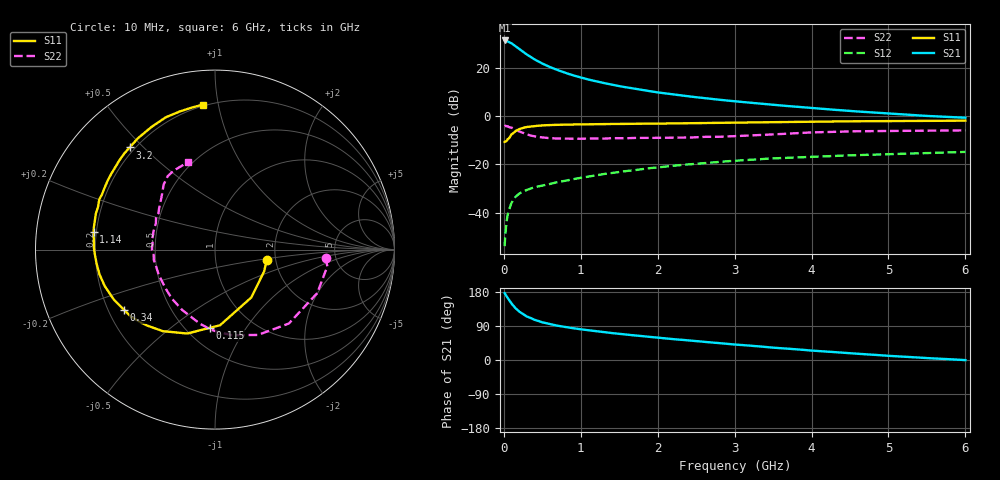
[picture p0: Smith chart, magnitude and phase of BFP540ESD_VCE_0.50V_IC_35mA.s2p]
! Infineon Technologies  Discrete & RF Semiconductors
! BFP540ESD
! VCE = 0.50 V,  IC =  35 mA
! Common Emitter S-Parameters:  Nov 2015
# GHz  S  MA  R  50
!  f  S11  S21  S12  S22
! GHz  MAG  ANG  MAG  ANG  MAG  ANG  MAG  ANG
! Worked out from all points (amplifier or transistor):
!   210 points, 10 MHz to 6 GHz, reference 50 ohm
!   highest |S21| = 31.5 dB at 10 MHz (marker M1)
!   |S21| within 3 dB of that: start of sweep to 177.8 MHz
!   unconditionally stable (mu >= 1): start of sweep to 43.25 MHz; 1.02 GHz to end of sweep
!   at 185 MHz: K = 0.51, MSG = 30.4 dB, |S12| = -32.5 dB
!   at 1.52 GHz: K = 1.11, MAG = 15.8 dB, |S12| = -23.1 dB
!   at 6 GHz: K = 1.24, MAG = 4.2 dB, |S12| = -14.8 dB
!   S11 on the Smith chart (normalised r, x): 10 MHz: 1.79, -0.24; 115 MHz: 0.65, -0.70; 340 MHz: 0.26, -0.28; 1.14 GHz: 0.19, +0.07; 3.2 GHz: 0.18, +0.45; 6 GHz: 0.19, +0.90
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0.01  0.294 -11.9  37.54 176.6  0.002 95.6  0.6178 -4.2
0.05  0.3347 -52.8  35.98 163.5  0.009 76.8  0.6189 -23.1
0.1  0.4225 -86.2  32.85 148.7  0.0159 68.4  0.5823 -45.0
0.115  0.4362 -93.5  31.46 145.5  0.0174 65.0  0.5614 -50.1
0.15  0.4926 -108.3  28.68 136.8  0.021 59.0  0.5322 -63.3
0.2  0.5394 -122.6  25.05 127.8  0.0247 53.1  0.4862 -78.8
0.24  0.5661 -131.4  22.37 122.1  0.0267 51.2  0.4573 -88.7
0.3  0.5995 -141.6  19.11 114.7  0.0295 49.2  0.4209 -101.7
0.34  0.6079 -146.5  17.47 111.7  0.0311 48.1  0.4017 -108.0
0.4  0.6286 -153.6  15.12 105.9  0.0336 46.7  0.383 -118.4
0.5  0.6472 -161.8  12.44 99.4  0.0361 46.0  0.3638 -131.3
0.6  0.658 -167.8  10.5 94.6  0.0392 46.3  0.351 -140.9
0.8  0.67 -177.4  7.949 86.8  0.0457 47.9  0.3437 -155.6
1.02  0.6777 175.0  6.256 80.5  0.0533 48.2  0.3419 -166.7
1.14  0.6838 171.6  5.596 77.4  0.0571 48.4  0.345 -171.5
1.5  0.6935 162.9  4.22 69.0  0.0693 47.9  0.3502 176.9
2.02  0.7037 151.7  3.098 58.4  0.0871 45.0  0.3567 164.7
3.1  0.7387 131.6  1.979 39.5  0.1217 35.4  0.3922 141.9
3.2  0.7416 129.9  1.913 37.9  0.1245 34.3  0.3985 140.1
4.1  0.7723 115.8  1.441 23.6  0.1457 24.9  0.4662 127.2
5.1  0.7951 103.4  1.114 9.9  0.1641 15.5  0.4972 116.7
6  0.8107 94.8  0.931 -0.3  0.1817 8.5  0.5091 107.0
